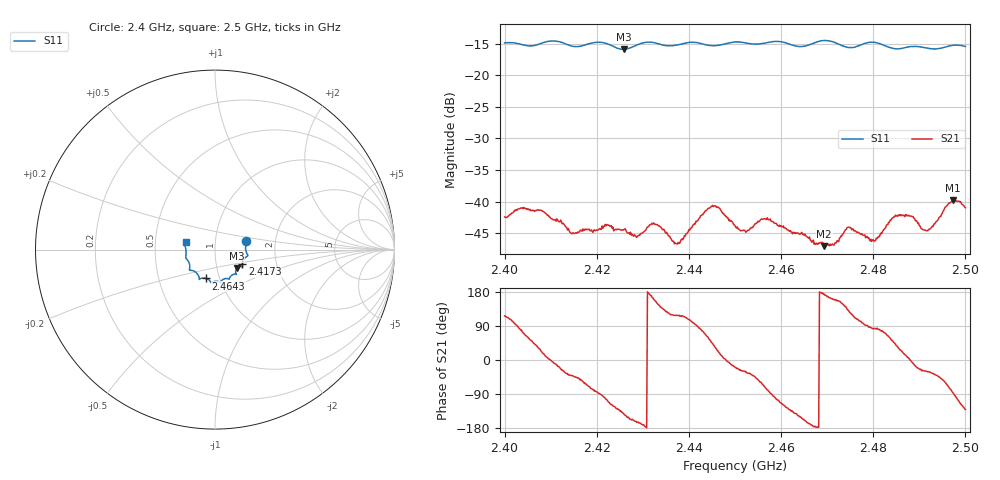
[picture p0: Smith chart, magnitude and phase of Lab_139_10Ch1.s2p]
# Hz S RI R 50
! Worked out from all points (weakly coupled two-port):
!   601 points, 2.4 GHz to 2.5 GHz, reference 50 ohm
!   highest |S21| = -39.76 dB at 2.4973 GHz (marker M1); lowest = -47.0 dB at 2.4693 GHz (marker M2)
!   lowest |S11| = -15.9 dB at 2.4258 GHz (marker M3), VSWR 1.38, Z = 62.3 - j13.3 ohm
!   |S11| at or under -10 dB: start of sweep to end of sweep
!   S12 and S22 are empty: the file has one direction only
!   S11 on the Smith chart (normalised r, x): 2.4 GHz: 1.41, +0.14; 2.4173 GHz: 1.34, -0.23; 2.4643 GHz: 0.86, -0.29; 2.5 GHz: 0.72, +0.06
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2.4e9  0.1733 0.0495  -0.00337 0.00677  0 0  0 0
2.407667e9  0.1762 -0.0177  0.0075 0.00411  0 0  0 0
2.416667e9  0.1529 -0.0747  0.00351 -0.00475  0 0  0 0
2.417333e9  0.1521 -0.0821  0.00283 -0.00535  0 0  0 0
2.425833e9  0.1218 -0.1037  -0.00474 -0.00369  0 0  0 0
2.428833e9  0.1154 -0.1304  -0.00514 -0.0015  0 0  0 0
2.433333e9  0.1125 -0.1369  -0.00536 0.00361  0 0  0 0
2.437667e9  0.0842 -0.1524  -0.0022 0.00422  0 0  0 0
2.445333e9  0.0529 -0.1627  0.00707 0.00584  0 0  0 0
2.45e9  0.0292 -0.1809  0.00613 -0.00206  0 0  0 0
2.452667e9  0.0191 -0.1779  0.00485 -0.0033  0 0  0 0
2.456667e9  -0.0113 -0.1797  0.00201 -0.00698  0 0  0 0
2.464333e9  -0.05 -0.1609  -0.00497 -0.00267  0 0  0 0
2.466667e9  -0.0761 -0.1598  -0.00473 -0.000714  0 0  0 0
2.469333e9  -0.0878 -0.1665  -0.00443 0.000468  0 0  0 0
2.474667e9  -0.1031 -0.1293  -0.00405 0.00482  0 0  0 0
2.480167e9  -0.1429 -0.1129  0.000591 0.00484  0 0  0 0
2.483333e9  -0.1404 -0.09  0.00322 0.00605  0 0  0 0
2.4875e9  -0.158 -0.0537  0.00773 0.000823  0 0  0 0
2.491833e9  -0.1612 -0.0269  0.00505 -0.00305  0 0  0 0
2.497333e9  -0.1703 0.0284  0.000566 -0.0103  0 0  0 0
2.5e9  -0.1634 0.0418  -0.00583 -0.00679  0 0  0 0
